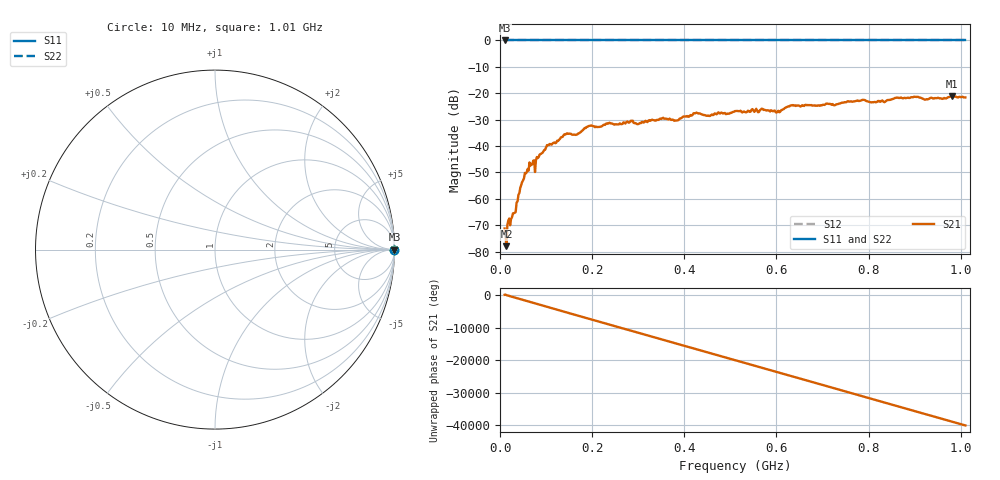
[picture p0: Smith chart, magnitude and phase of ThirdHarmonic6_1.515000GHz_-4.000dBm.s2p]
! 8/16/2025 5:51:22 PM
! C:\ANRITSUVNA\TEMP\TEMP.S2P
! CHANNEL.1
! TR.MEASUREMENT
! RAW.DATA
! RF.CORRECTION.OFF
! AVERAGING.OFF
! IF.BANDWIDTH: 5KHZ
! SWEEPTYPE:  FREQ.SWEEP(Linear)
! Reference Plane Port Info
! PORT:  PORT1  PORT2
! DISTANCE:  0  m  0  m
! TIME:  0  s  0  s
! PHASE.OFFSET:  0  deg.  0  deg.
! LOSS:  0  dB  0  dB
! REF.LOSS:  0  dB  0  dB
! REF.FREQ:  0  Hz  0  Hz
! Power Info
! POWER:  -20  dBm  -20  dBm
! EFF.POWER:  -20  dBm  -20  dBm
! SOURCE.ATTEN:  0  dB  0  dB
! TEST.ATTEN:  0  dB  0  dB
# GHZ S RI R 50.0
! FREQ.GHZ  S11RE  S11IM  S21RE  S21IM  S12RE  S12IM  S22RE  S22IM
!; PortSelection: Port_12
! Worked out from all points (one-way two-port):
!   501 points, 10 MHz to 1.01 GHz, reference 50 ohm
!   highest |S21| = -21.20 dB at 980 MHz (marker M1); lowest = -77.9 dB at 14 MHz (marker M2)
!   lowest |S11| = 0.0 dB at 10 MHz (marker M3)
!   |S11| at or under -10 dB: nowhere
!   |S22| runs from 0.0 to 0.0 dB; largest |S21 - S12| = 1.1
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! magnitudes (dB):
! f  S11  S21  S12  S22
! 10 MHz  0.0  -71.2  0.0  0.0
! 14 MHz  0.0  -77.9  0.0  0.0
! 20 MHz  0.0  -67.4  0.0  0.0
! 34 MHz  0.0  -65.0  0.0  0.0
! 50 MHz  0.0  -53.0  0.0  0.0
! 68 MHz  0.0  -47.0  0.0  0.0
! 80 MHz  0.0  -44.1  0.0  0.0
! 106 MHz  0.0  -39.6  0.0  0.0
! 142 MHz  0.0  -35.6  0.0  0.0
! 178 MHz  0.0  -34.2  0.0  0.0
! 196 MHz  0.0  -32.3  0.0  0.0
! 344 MHz  0.0  -30.1  0.0  0.0
! 382 MHz  0.0  -30.3  0.0  0.0
! 424 MHz  0.0  -27.6  0.0  0.0
! 452 MHz  0.0  -28.4  0.0  0.0
! 510 MHz  0.0  -26.7  0.0  0.0
! 604 MHz  0.0  -26.6  0.0  0.0
! 632 MHz  0.0  -24.6  0.0  0.0
! 678 MHz  0.0  -24.7  0.0  0.0
! 844 MHz  0.0  -22.6  0.0  0.0
! 980 MHz  0.0  -21.2  0.0  0.0
! 1.01 GHz  0.0  -21.6  0.0  0.0
